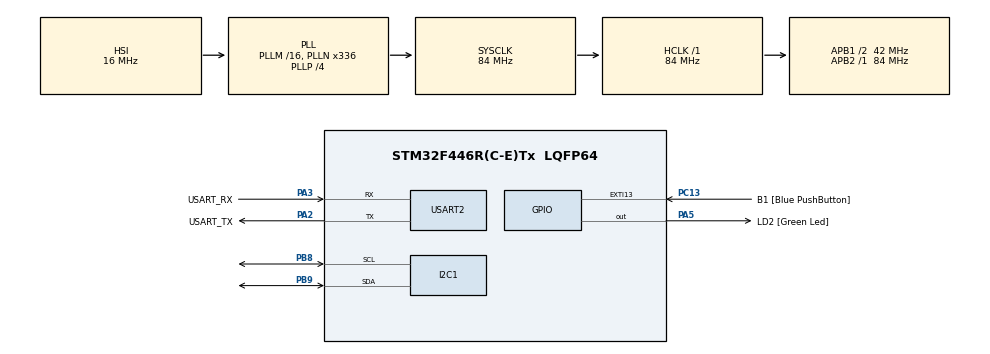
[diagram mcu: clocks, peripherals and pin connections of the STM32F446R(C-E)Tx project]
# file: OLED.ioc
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I2C1.I2C_Mode=I2C_Fast
Mcu.Family=STM32F4
Mcu.Name=STM32F446R(C-E)Tx
Mcu.Package=LQFP64
NVIC.PriorityGroup=NVIC_PRIORITYGROUP_0
NVIC.TIM6_DAC_IRQn=true\:0\:0\:false\:false\:true\:false\:true\:true
NVIC.TimeBase=TIM6_DAC_IRQn
NVIC.TimeBaseIP=TIM6
PA13.GPIO_Label=TMS
PA13.Mode=Serial_Wire
PA13.Signal=SYS_JTMS-SWDIO
PA14.GPIO_Label=TCK
PA14.Mode=Serial_Wire
PA14.Signal=SYS_JTCK-SWCLK
PA2.GPIO_Label=USART_TX
PA2.Mode=Asynchronous
PA2.Signal=USART2_TX
PA3.GPIO_Label=USART_RX
PA3.Mode=Asynchronous
PA3.Signal=USART2_RX
PA5.GPIO_Label=LD2 [Green Led]
PA5.Signal=GPIO_Output
PB3.GPIO_Label=SWO
PB3.Signal=SYS_JTDO-SWO
PB8.Mode=I2C
PB8.Signal=I2C1_SCL
PB9.Mode=I2C
PB9.Signal=I2C1_SDA
PC13.GPIO_Label=B1 [Blue PushButton]
PC13.GPIO_ModeDefaultEXTI=GPIO_MODE_IT_FALLING
PC13.Signal=GPXTI13
PC14-OSC32_IN.Mode=LSE-External-Oscillator
PC14-OSC32_IN.Signal=RCC_OSC32_IN
PC15-OSC32_OUT.Mode=LSE-External-Oscillator
PC15-OSC32_OUT.Signal=RCC_OSC32_OUT
PH0-OSC_IN.Mode=HSE-External-Oscillator
PH0-OSC_IN.Signal=RCC_OSC_IN
PH1-OSC_OUT.Mode=HSE-External-Oscillator
PH1-OSC_OUT.Signal=RCC_OSC_OUT
ProjectManager.HeapSize=0x200
ProjectManager.StackSize=0x400
ProjectManager.TargetToolchain=STM32CubeIDE
RCC.48MHZClocksFreq_Value=84000000
RCC.AHBFreq_Value=84000000
RCC.APB1CLKDivider=RCC_HCLK_DIV2
RCC.APB1Freq_Value=42000000
RCC.APB1TimFreq_Value=84000000
RCC.APB2Freq_Value=84000000
RCC.APB2TimFreq_Value=84000000
RCC.CortexFreq_Value=84000000
RCC.FLatency-AdvancedSettings=FLASH_LATENCY_2
RCC.HCLKFreq_Value=84000000
RCC.HSE_VALUE=8000000
RCC.HSI_VALUE=16000000
RCC.PLLN=336
RCC.PLLP=RCC_PLLP_DIV4
RCC.SYSCLKFreq_VALUE=84000000
RCC.SYSCLKSource=RCC_SYSCLKSOURCE_PLLCLK
RCC.USBFreq_Value=168000000
RCC.VCOOutputFreq_Value=336000000
USART2.VirtualMode=VM_ASYNC
VP_SYS_VS_tim6.Mode=TIM6
board=NUCLEO-F446RE

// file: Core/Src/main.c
/* USER CODE BEGIN Header */
/**
  ******************************************************************************
  * @file           : main.c
  * @brief          : Main program body
  ******************************************************************************
  * @attention
  *
  * Copyright (c) 2024 STMicroelectronics.
  * All rights reserved.
  *
  * This software is licensed under terms that can be found in the LICENSE file
  * in the root directory of this software component.
  * If no LICENSE file comes with this software, it is provided AS-IS.
  *
  ******************************************************************************
  */
/* USER CODE END Header */
#include "main.h"

/* USER CODE BEGIN Includes */
#include "fonts.h"
#include "ssd1306.h"

/* USER CODE END Includes */

I2C_HandleTypeDef hi2c1;

UART_HandleTypeDef huart2;

void SystemClock_Config(void);
static void MX_GPIO_Init(void);
static void MX_USART2_UART_Init(void);
static void MX_I2C1_Init(void);

int main(void)
{

  /* MCU Configuration--------------------------------------------------------*/

  /* Reset of all peripherals, Initializes the Flash interface and the Systick. */
  HAL_Init();

  /* Configure the system clock */
  SystemClock_Config();

  /* Initialize all configured peripherals */
  MX_GPIO_Init();
  MX_USART2_UART_Init();
  MX_I2C1_Init();
  /* USER CODE BEGIN 2 */

  SSD1306_Init();
  char snum[5];

  SSD1306_GotoXY (0,0);
  SSD1306_Puts ("NIZAR", &Font_11x18, 1);
  SSD1306_GotoXY (0, 30);
  SSD1306_Puts ("MOHIDEEN", &Font_11x18, 1);
  SSD1306_UpdateScreen();
  HAL_Delay (1000);

  SSD1306_ScrollRight(0,7);
  HAL_Delay(3000);
  SSD1306_ScrollLeft(0,7);
  HAL_Delay(3000);
  SSD1306_Stopscroll();
  SSD1306_Clear();
  SSD1306_GotoXY (35,0);
  SSD1306_Puts ("SCORE", &Font_11x18, 1);

  /* USER CODE END 2 */

  /* Infinite loop */
  /* USER CODE BEGIN WHILE */
  while (1)
  {
	  for ( int x = 1; x <= 10000 ; x++ )
	  	{
	  		itoa(x, snum, 10);
	  		SSD1306_GotoXY (0, 30);
	  		SSD1306_Puts ("             ", &Font_16x26, 1);
	  		SSD1306_UpdateScreen();
	  		if(x < 10) {
	  			SSD1306_GotoXY (53, 30);  // 1 DIGIT
	  		}
	  		else if (x < 100 ) {
	  			SSD1306_GotoXY (45, 30);  // 2 DIGITS
	  		}
	  		else if (x < 1000 ) {
	  			SSD1306_GotoXY (37, 30);  // 3 DIGITS
	  		}
	  		else {
	  			SSD1306_GotoXY (30, 30);  // 4 DIGIS
	  		}
	  		SSD1306_Puts (snum, &Font_16x26, 1);
	  		//SSD1306_Puts ("123", &Font_16x26, 1);
	  		SSD1306_UpdateScreen();
	  		HAL_Delay (500);
	  }
    /* USER CODE END WHILE */

  }
}

void SystemClock_Config(void)
{
  RCC_OscInitTypeDef RCC_OscInitStruct = {0};
  RCC_ClkInitTypeDef RCC_ClkInitStruct = {0};

  /** Configure the main internal regulator output voltage
  */
  __HAL_RCC_PWR_CLK_ENABLE();
  __HAL_PWR_VOLTAGESCALING_CONFIG(PWR_REGULATOR_VOLTAGE_SCALE3);

  /** Initializes the RCC Oscillators according to the specified parameters
  * in the RCC_OscInitTypeDef structure.
  */
  RCC_OscInitStruct.OscillatorType = RCC_OSCILLATORTYPE_HSI;
  RCC_OscInitStruct.HSIState = RCC_HSI_ON;
  RCC_OscInitStruct.HSICalibrationValue = RCC_HSICALIBRATION_DEFAULT;
  RCC_OscInitStruct.PLL.PLLState = RCC_PLL_ON;
  RCC_OscInitStruct.PLL.PLLSource = RCC_PLLSOURCE_HSI;
  RCC_OscInitStruct.PLL.PLLM = 16;
  RCC_OscInitStruct.PLL.PLLN = 336;
  RCC_OscInitStruct.PLL.PLLP = RCC_PLLP_DIV4;
  RCC_OscInitStruct.PLL.PLLQ = 2;
  RCC_OscInitStruct.PLL.PLLR = 2;
  if (HAL_RCC_OscConfig(&RCC_OscInitStruct) != HAL_OK)
  {
    Error_Handler();
  }

  /** Initializes the CPU, AHB and APB buses clocks
  */
  RCC_ClkInitStruct.ClockType = RCC_CLOCKTYPE_HCLK|RCC_CLOCKTYPE_SYSCLK
                              |RCC_CLOCKTYPE_PCLK1|RCC_CLOCKTYPE_PCLK2;
  RCC_ClkInitStruct.SYSCLKSource = RCC_SYSCLKSOURCE_PLLCLK;
  RCC_ClkInitStruct.AHBCLKDivider = RCC_SYSCLK_DIV1;
  RCC_ClkInitStruct.APB1CLKDivider = RCC_HCLK_DIV2;
  RCC_ClkInitStruct.APB2CLKDivider = RCC_HCLK_DIV1;

  if (HAL_RCC_ClockConfig(&RCC_ClkInitStruct, FLASH_LATENCY_2) != HAL_OK)
  {
    Error_Handler();
  }
}

static void MX_I2C1_Init(void)
{

  hi2c1.Instance = I2C1;
  hi2c1.Init.ClockSpeed = 400000;
  hi2c1.Init.DutyCycle = I2C_DUTYCYCLE_2;
  hi2c1.Init.OwnAddress1 = 0;
  hi2c1.Init.AddressingMode = I2C_ADDRESSINGMODE_7BIT;
  hi2c1.Init.DualAddressMode = I2C_DUALADDRESS_DISABLE;
  hi2c1.Init.OwnAddress2 = 0;
  hi2c1.Init.GeneralCallMode = I2C_GENERALCALL_DISABLE;
  hi2c1.Init.NoStretchMode = I2C_NOSTRETCH_DISABLE;
  if (HAL_I2C_Init(&hi2c1) != HAL_OK)
  {
    Error_Handler();
  }

}

static void MX_USART2_UART_Init(void)
{

  huart2.Instance = USART2;
  huart2.Init.BaudRate = 115200;
  huart2.Init.WordLength = UART_WORDLENGTH_8B;
  huart2.Init.StopBits = UART_STOPBITS_1;
  huart2.Init.Parity = UART_PARITY_NONE;
  huart2.Init.Mode = UART_MODE_TX_RX;
  huart2.Init.HwFlowCtl = UART_HWCONTROL_NONE;
  huart2.Init.OverSampling = UART_OVERSAMPLING_16;
  if (HAL_UART_Init(&huart2) != HAL_OK)
  {
    Error_Handler();
  }

}

static void MX_GPIO_Init(void)
{
  GPIO_InitTypeDef GPIO_InitStruct = {0};

  /* GPIO Ports Clock Enable */
  __HAL_RCC_GPIOC_CLK_ENABLE();
  __HAL_RCC_GPIOH_CLK_ENABLE();
  __HAL_RCC_GPIOA_CLK_ENABLE();
  __HAL_RCC_GPIOB_CLK_ENABLE();

  /*Configure GPIO pin Output Level */
  HAL_GPIO_WritePin(LD2_GPIO_Port, LD2_Pin, GPIO_PIN_RESET);

  /*Configure GPIO pin : B1_Pin */
  GPIO_InitStruct.Pin = B1_Pin;
  GPIO_InitStruct.Mode = GPIO_MODE_IT_FALLING;
  GPIO_InitStruct.Pull = GPIO_NOPULL;
  HAL_GPIO_Init(B1_GPIO_Port, &GPIO_InitStruct);

  /*Configure GPIO pin : LD2_Pin */
  GPIO_InitStruct.Pin = LD2_Pin;
  GPIO_InitStruct.Mode = GPIO_MODE_OUTPUT_PP;
  GPIO_InitStruct.Pull = GPIO_NOPULL;
  GPIO_InitStruct.Speed = GPIO_SPEED_FREQ_LOW;
  HAL_GPIO_Init(LD2_GPIO_Port, &GPIO_InitStruct);

}

void HAL_TIM_PeriodElapsedCallback(TIM_HandleTypeDef *htim)
{
  if (htim->Instance == TIM6) {
    HAL_IncTick();
  }
}

void Error_Handler(void)
{
  __disable_irq();
  while (1)
  {
  }
}
